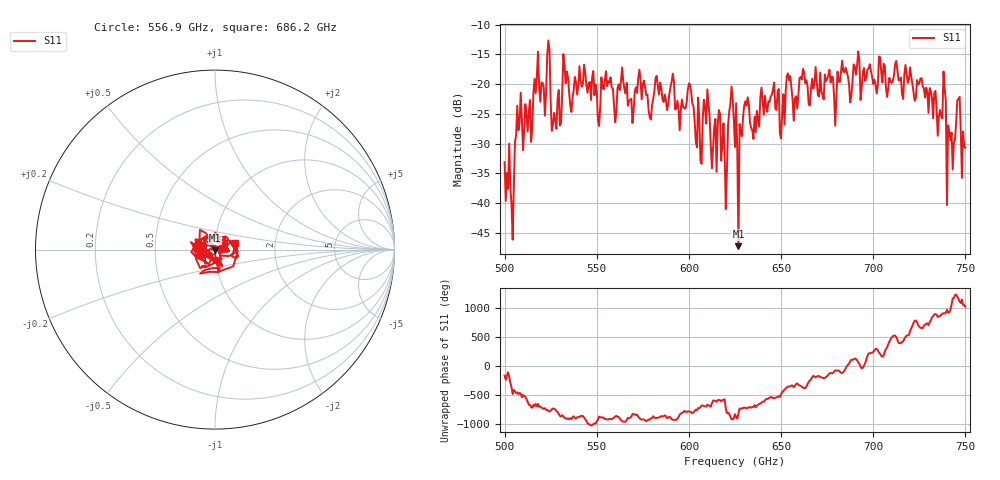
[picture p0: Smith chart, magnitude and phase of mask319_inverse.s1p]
!Created with skrf (http://scikit-rf.org).
# GHz S MA R 50.0
!freq magS11 angS11
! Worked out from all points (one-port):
!   401 points, 500 GHz to 750 GHz, reference 50 ohm
!   lowest |S11| = -47.2 dB at 626.9 GHz (marker M1), VSWR 1.01, Z = 49.9 - j0.428 ohm
!   |S11| at or under -10 dB: start of sweep to end of sweep
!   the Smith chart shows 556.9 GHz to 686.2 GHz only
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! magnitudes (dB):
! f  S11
! 500 GHz  -33.1
! 504.4 GHz  -46.1
! 507.5 GHz  -27.7
! 513.8 GHz  -22.7
! 516.9 GHz  -21.5
! 523.8 GHz  -12.6
! 526.9 GHz  -24.8
! 531.2 GHz  -21.5
! 562.5 GHz  -21.0
! 579.4 GHz  -25.9
! 590.6 GHz  -19.6
! 593.8 GHz  -22.8
! 600.6 GHz  -20.1
! 605.6 GHz  -25.8
! 609.4 GHz  -26.6
! 619.4 GHz  -31.7
! 622.5 GHz  -23.2
! 625 GHz  -30.6
! 626.9 GHz  -47.2
! 631.2 GHz  -23.6
! 635 GHz  -29.2
! 656.2 GHz  -22.6
! 687.5 GHz  -23.1
! 718.8 GHz  -19.8
! 738.1 GHz  -17.9
! 741.2 GHz  -27.9
! 746.2 GHz  -22.5
! 750 GHz  -30.7
